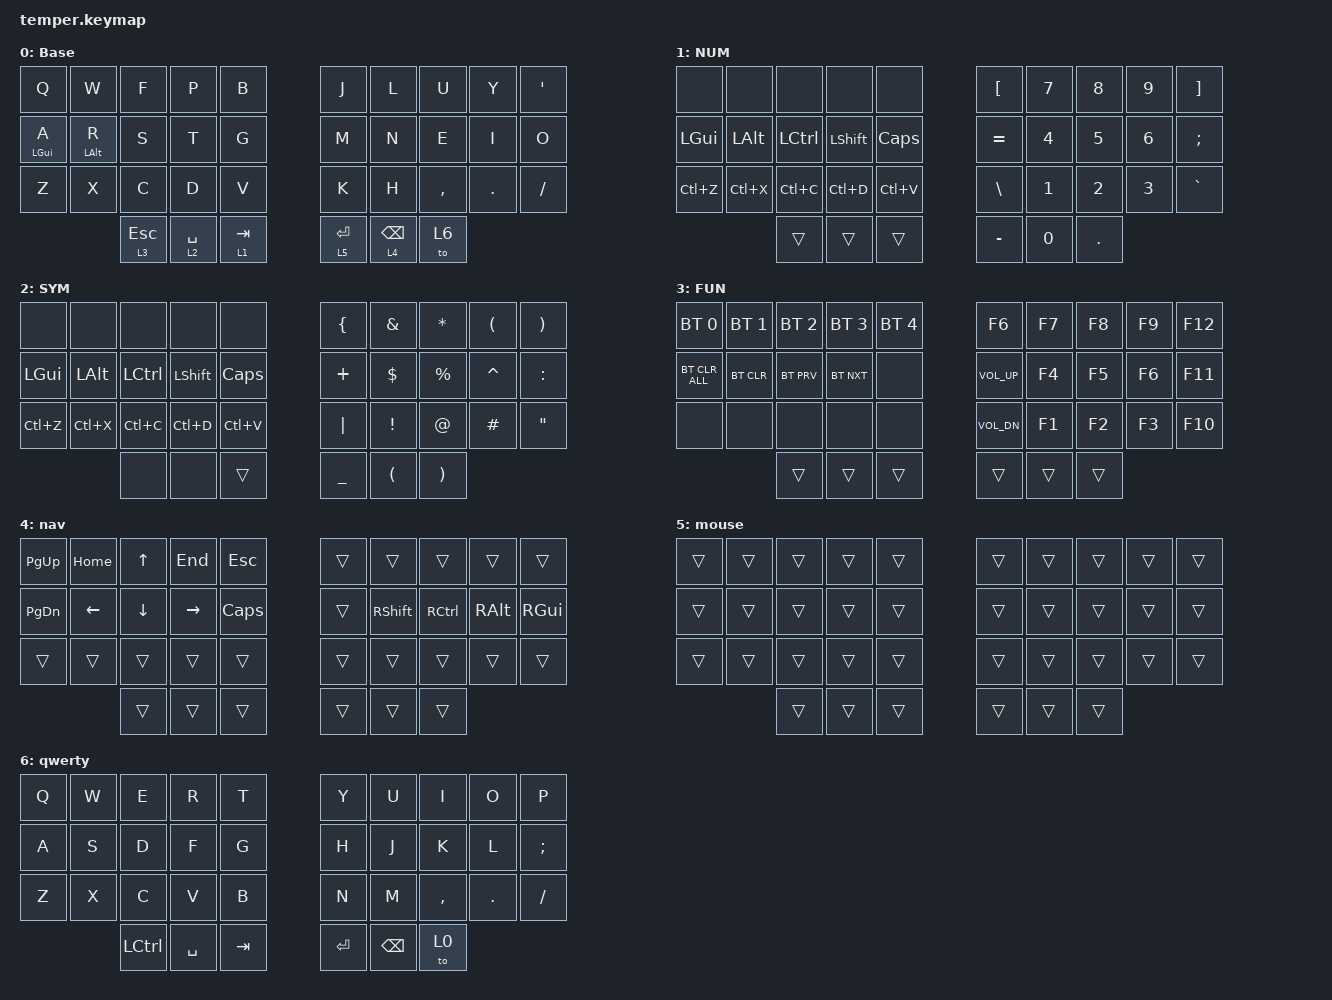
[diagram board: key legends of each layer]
/*
 * Copyright (c) 2020 duckyb
 *
 * SPDX-License-Identifier: MIT
 */

#include <behaviors.dtsi>
#include <dt-bindings/zmk/bt.h>
#include <dt-bindings/zmk/keys.h>

#define Base 0
#define NAV_NUM 1
#define SYM 2
#define FUN 3

&sk { quick-release; };

&lt {
    flavor = "hold-preferred";
    quick-tap-ms = <180>;
};

/ {
    behaviors {
        hm: hm {
            compatible = "zmk,behavior-hold-tap";
            label = "HM";
            bindings = <&kp>, <&kp>;

            #binding-cells = <2>;
            quick-tap-ms = <170>;
            tapping-term-ms = <190>;
            global-quick-tap;
            flavor = "tap-preferred";
        };

        hml: hml {
            compatible = "zmk,behavior-hold-tap";
            label = "HML";
            bindings = <&kp>, <&kp>;

            #binding-cells = <2>;
            tapping-term-ms = <280>;
            quick-tap-ms = <175>;
            require-prior-idle-ms = <150>;
            flavor = "balanced";
            hold-trigger-on-release;
            hold-trigger-key-positions = <0 1 2 3 4 20 21 22 23 24 14 30 31 32 33 34 35 25 15 5 6 16 26 27 17 7 8 18 28 29 19 9>;
        };

        hmr: hmr {
            compatible = "zmk,behavior-hold-tap";
            label = "HMR";
            bindings = <&kp>, <&kp>;

            #binding-cells = <2>;
            tapping-term-ms = <280>;
            quick-tap-ms = <175>;
            require-prior-idle-ms = <150>;
            flavor = "balanced";
            hold-trigger-on-release;
            hold-trigger-key-positions = <0 10 20 21 1 11 12 2 3 4 24 14 13 23 22 30 31 32 33 34 35 25 26 28 27 29 9 8 7 6 5 15>;
        };

        mo_tog: mo_tog {
            compatible = "zmk,behavior-hold-tap";
            label = "MO_TOG";
            bindings = <&mo>, <&tog>;

            #binding-cells = <2>;
            tapping-term-ms = <200>;
            quick-tap-ms = <180>;
        };
    };

    combos {
        compatible = "zmk,combos";

        left_bkt {
            bindings = <&kp LBKT>;
            key-positions = <3 4>;
            timeout-ms = <30>;
        };

        right_bkt {
            bindings = <&kp RBKT>;
            key-positions = <6 5>;
            timeout-ms = <30>;
        };

        left_par {
            bindings = <&kp LEFT_PARENTHESIS>;
            key-positions = <13 14>;
            timeout-ms = <30>;
        };

        right_par {
            bindings = <&kp RIGHT_PARENTHESIS>;
            key-positions = <16 15>;
            timeout-ms = <30>;
        };

        left_brace {
            bindings = <&kp LEFT_BRACE>;
            key-positions = <23 24>;
            timeout-ms = <35>;
        };

        right_brace {
            bindings = <&kp RIGHT_BRACE>;
            key-positions = <26 25>;
            timeout-ms = <35>;
        };

        bac {
            bindings = <&kp BACKSLASH>;
            key-positions = <3 14>;
        };

        pipe {
            bindings = <&kp PIPE>;
            key-positions = <15 5>;
            timeout-ms = <30>;
        };

        esc {
            bindings = <&kp ESC>;
            key-positions = <11 12>;
            timeout-ms = <30>;
        };

        enter {
            bindings = <&kp ENTER>;
            key-positions = <16 17>;
            timeout-ms = <30>;
        };

        tab {
            bindings = <&kp TAB>;
            key-positions = <12 13>;
            timeout-ms = <30>;
        };

        back {
            bindings = <&kp BACKSPACE>;
            key-positions = <17 18>;
            timeout-ms = <30>;
        };

        del {
            bindings = <&kp DELETE>;
            key-positions = <27 28>;
            timeout-ms = <30>;
        };

        copy {
            bindings = <&kp LG(C)>;
            key-positions = <21 22>;
            timeout-ms = <30>;
        };

        paste {
            bindings = <&kp LG(V)>;
            key-positions = <22 23>;
            timeout-ms = <30>;
        };

        slash {
            bindings = <&kp SLASH>;
            key-positions = <15 6>;
        };
    };

    keymap {
        compatible = "zmk,keymap";

        base {
            label = "Base";
            display-name = "Base";
            bindings = <
  &kp Q           &kp W           &kp F         &kp P        &kp B        &kp J        &kp L            &kp U      &kp Y    &kp SINGLE_QUOTE
  &mt LEFT_GUI A  &mt LEFT_ALT R  &kp S         &kp T        &kp G        &kp M        &kp N            &kp E      &kp I    &kp O
  &kp Z           &kp X           &kp C         &kp D        &kp V        &kp K        &kp H            &kp COMMA  &kp DOT  &kp FSLH
                                  &lt 3 ESCAPE  &lt 2 SPACE  &lt 1 TAB    &lt 5 ENTER  &lt 4 BACKSPACE  &to 6
            >;
        };

        num {
            display-name = "NUM";
            label = "NAV_NUM";
            bindings = <
  &none         &none         &none      &none           &none           &kp LBKT   &kp N7  &kp N8      &kp N9  &kp RBKT
  &kp LEFT_GUI  &kp LEFT_ALT  &kp LCTRL  &kp LEFT_SHIFT  &kp CAPSLOCK    &kp EQUAL  &kp N4  &kp N5      &kp N6  &kp SEMICOLON
  &kp LC(Z)     &kp LC(X)     &kp LC(C)  &kp LC(D)       &kp LC(V)       &kp BSLH   &kp N1  &kp N2      &kp N3  &kp GRAVE
                              &trans     &trans          &trans          &kp MINUS  &kp N0  &kp PERIOD
            >;
        };

        sym {
            label = "SYM";
            display-name = "SYM";
            bindings = <
  &none         &none         &none      &none           &none           &kp LEFT_BRACE  &kp AMPERSAND         &kp ASTERISK           &kp LEFT_PARENTHESIS  &kp RIGHT_PARENTHESIS
  &kp LEFT_GUI  &kp LEFT_ALT  &kp LCTRL  &kp LEFT_SHIFT  &kp CAPSLOCK    &kp PLUS        &kp DOLLAR            &kp PERCENT            &kp CARET             &kp COLON
  &kp LC(Z)     &kp LC(X)     &kp LC(C)  &kp LC(D)       &kp LC(V)       &kp PIPE        &kp EXCLAMATION       &kp AT_SIGN            &kp HASH              &kp DOUBLE_QUOTES
                              &none      &none           &trans          &kp UNDERSCORE  &kp LEFT_PARENTHESIS  &kp RIGHT_PARENTHESIS
            >;
        };

        fun {
            bindings = <
  &bt BT_SEL 0    &bt BT_SEL 1  &bt BT_SEL 2  &bt BT_SEL 3  &bt BT_SEL 4    &kp F6           &kp F7  &kp F8  &kp F9  &kp F12
  &bt BT_CLR_ALL  &bt BT_CLR    &bt BT_PRV    &bt BT_NXT    &none           &kp C_VOLUME_UP  &kp F4  &kp F5  &kp F6  &kp F11
  &none           &none         &none         &none         &none           &kp C_VOL_DN     &kp F1  &kp F2  &kp F3  &kp F10
                                &trans        &trans        &trans          &trans           &trans  &trans
            >;

            display-name = "FUN";
            label = "FUN";
        };

        nav {
            bindings = <
  &kp PAGE_UP    &kp HOME        &kp UP_ARROW    &kp END          &kp ESCAPE      &trans  &trans           &trans             &trans         &trans
  &kp PAGE_DOWN  &kp LEFT_ARROW  &kp DOWN_ARROW  &kp RIGHT_ARROW  &kp CAPSLOCK    &trans  &kp RIGHT_SHIFT  &kp RIGHT_CONTROL  &kp RIGHT_ALT  &kp RIGHT_GUI
  &trans         &trans          &trans          &trans           &trans          &trans  &trans           &trans             &trans         &trans
                                 &trans          &trans           &trans          &trans  &trans           &trans
            >;

            label = "nav";
        };

        mouse {
            bindings = <
  &trans  &trans  &trans  &trans  &trans    &trans  &trans  &trans  &trans  &trans
  &trans  &trans  &trans  &trans  &trans    &trans  &trans  &trans  &trans  &trans
  &trans  &trans  &trans  &trans  &trans    &trans  &trans  &trans  &trans  &trans
                  &trans  &trans  &trans    &trans  &trans  &trans
            >;

            label = "mouse";
        };

        qwerty {
            bindings = <
  &kp Q  &kp W  &kp E      &kp R      &kp T      &kp Y      &kp U     &kp I      &kp O    &kp P
  &kp A  &kp S  &kp D      &kp F      &kp G      &kp H      &kp J     &kp K      &kp L    &kp SEMI
  &kp Z  &kp X  &kp C      &kp V      &kp B      &kp N      &kp M     &kp COMMA  &kp DOT  &kp FSLH
                &kp LCTRL  &kp SPACE  &kp TAB    &kp ENTER  &kp BSPC  &to 0
            >;

            label = "qwerty";
        };
    };
};
